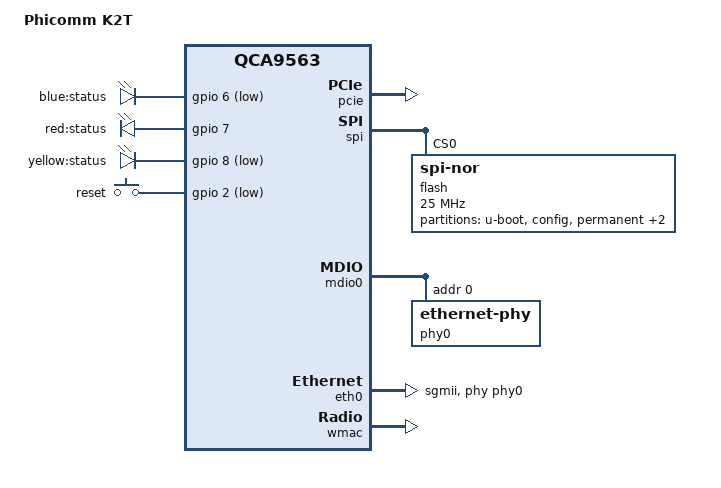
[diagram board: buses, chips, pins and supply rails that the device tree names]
// SPDX-License-Identifier: GPL-2.0-or-later OR MIT

#include "qca956x.dtsi"

#include <dt-bindings/gpio/gpio.h>
#include <dt-bindings/input/input.h>

/ {
	model = "Phicomm K2T";
	compatible = "phicomm,k2t", "qca,qca9563";

	aliases {
		led-boot = &led_status_red;
		led-failsafe = &led_status_red;
		led-running = &led_status_red;
		led-upgrade = &led_status_red;
	};

	leds {
		compatible = "gpio-leds";

		status_blue {
			label = "blue:status";
			gpios = <&gpio 6 GPIO_ACTIVE_LOW>;
		};

		led_status_red: status_red {
			label = "red:status";
			gpios = <&gpio 7 GPIO_ACTIVE_HIGH>;
		};

		status_yellow {
			label = "yellow:status";
			gpios = <&gpio 8 GPIO_ACTIVE_LOW>;
		};
	};

	keys {
		compatible = "gpio-keys";

		reset {
			linux,code = <KEY_RESTART>;
			gpios = <&gpio 2 GPIO_ACTIVE_LOW>;
			debounce-interval = <60>;
		};
	};
};

&pcie {
	status = "okay";
};

&spi {
	status = "okay";

	flash@0 {
		compatible = "jedec,spi-nor";
		reg = <0>;
		spi-max-frequency = <25000000>;

		partitions {
			compatible = "fixed-partitions";
			#address-cells = <1>;
			#size-cells = <1>;

			partition@0 {
				label = "u-boot";
				reg = <0x000000 0x30000>;
				read-only;
			};

			partition@30000 {
				label = "config";
				reg = <0x030000 0x10000>;
				read-only;
			};

			partition@40000 {
				label = "permanent";
				reg = <0x040000 0x50000>;
				read-only;
			};

			partition@90000 {
				compatible = "denx,uimage";
				label = "firmware";
				reg = <0x090000 0xf60000>;
			};

			art: partition@ff0000 {
				label = "art";
				reg = <0xff0000 0x010000>;
				read-only;
			};
		};
	};
};

&mdio0 {
	status = "okay";

	phy-mask = <0>;

	phy0: ethernet-phy@0 {
		reg = <0>;
		phy-mode = "sgmii";

		qca,ar8327-initvals = <
			0x04 0x00080080 /* PORT0 PAD MODE CTRL */
			0x10 0x81000080 /* POWER_ON_STRAP */
			0x50 0xcc35cc35 /* LED_CTRL0 */
			0x54 0xcb37cb37 /* LED_CTRL1 */
			0x58 0x00000000 /* LED_CTRL2 */
			0x5c 0x00f3cf00 /* LED_CTRL3 */
			0x7c 0x0000007e /* PORT0_STATUS */
			>;
	};
};

&eth0 {
	status = "okay";

	pll-data = <0x03000101 0x00000101 0x00001919>;

	phy-mode = "sgmii";
	phy-handle = <&phy0>;
};

&wmac {
	status = "okay";
	mtd-cal-data = <&art 0x1000>;
};
